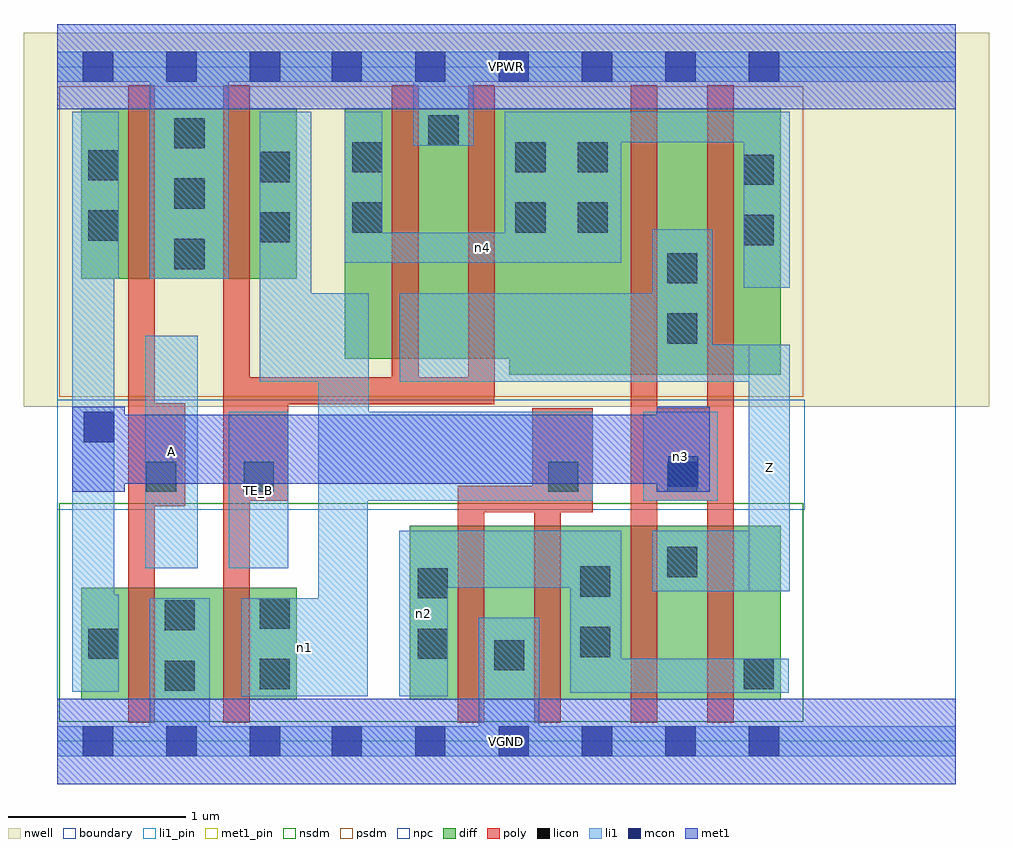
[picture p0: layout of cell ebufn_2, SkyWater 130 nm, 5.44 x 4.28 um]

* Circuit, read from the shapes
.subckt ebufn_2 A TE_B VGND VPWR Z n1 n2 n3 n4
XM1 VGND A n3 VSUBS sky130_fd_pr__nfet_01v8 w=0.63 l=0.15
XM2 n1 TE_B VGND VSUBS sky130_fd_pr__nfet_01v8 w=0.63 l=0.15
XM3 VGND n1 n2 VSUBS sky130_fd_pr__nfet_01v8 w=0.98 l=0.15 m=2
XM4 Z n3 n2 VSUBS sky130_fd_pr__nfet_01v8 w=0.98 l=0.15 m=2
XM5 VPWR A n3 n5 sky130_fd_pr__pfet_01v8 w=0.96 l=0.15
XM6 n1 TE_B VPWR n5 sky130_fd_pr__pfet_01v8 w=0.96 l=0.15
XM7 VPWR TE_B n4 n5 sky130_fd_pr__pfet_01v8 w=1.41 l=0.15 m=2
XM8 Z n3 n4 n5 sky130_fd_pr__pfet_01v8 w=1.5 l=0.15 m=2
.ends

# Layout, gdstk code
import gdstk
lib = gdstk.Library(unit=1e-6, precision=1e-09)
def R(c, l, rs):  # rectangles x0, y0, x1, y1
    for r in rs: c.add(gdstk.rectangle(r[:2], r[2:], *l))
def A(c, l, x, y, w, h, nx, ny, dx, dy):  # array of equal rectangles
    R(c, l, [(x+i*dx, y+j*dy, x+i*dx+w, y+j*dy+h) for i in range(nx) for j in range(ny)])
nwell = (64, 20)
diff = (65, 20)
poly = (66, 20)
licon = (66, 44)
li1_pin = (67, 16)
li1 = (67, 20)
mcon = (67, 44)
met1_pin = (68, 16)
met1 = (68, 20)
nsdm = (93, 44)
psdm = (94, 20)
npc = (95, 20)
boundary = (235, 4)

ebufn_2 = lib.new_cell('ebufn_2')
R(ebufn_2, nwell, [(-0.19,1.885,5.25,3.99), (0,1.885,5.06,3.99)])
R(ebufn_2, diff, [(0.135,0.235,1.35,0.865), (1.985,0.235,4.075,1.215), (2.545,2.065,4.075,3.565), (1.62,2.155,4.075,3.565), (0.135,2.605,1.35,3.565)])
R(ebufn_2, poly, [(0.4,0.105,0.55,3.695), (0.935,0.105,1.085,3.695), (2.255,0.105,2.405,1.44), (2.685,0.105,2.835,1.875), (3.23,0.105,3.38,3.695), (3.66,0.105,3.81,3.695), (2.255,1.29,3.015,1.44), (2.675,1.29,3.015,1.875), (0.4,1.325,0.72,1.905), (0.935,1.355,1.3,2.05), (3.23,1.355,3.81,1.875), (0.935,1.9,2.46,2.05), (1.885,1.9,2.035,3.695), (2.315,1.94,2.465,3.695)])
A(ebufn_2, licon, 0.66, 2.66, 0.17, 0.17, 1, 3, 0, 0.34)
R(ebufn_2, licon, [(0.605,0.285,0.775,0.455), (1.14,0.295,1.31,0.465), (3.865,0.295,4.035,0.465), (2.46,0.4,2.63,0.57), (0.175,0.465,0.345,0.635), (2.03,0.465,2.2,0.635), (2.945,0.475,3.115,0.645), (0.605,0.625,0.775,0.795), (1.14,0.635,1.31,0.805), (2.03,0.805,2.2,0.975), (2.945,0.815,3.115,0.985), (3.435,0.925,3.605,1.095), (0.5,1.405,0.67,1.575), (1.05,1.405,1.22,1.575), (2.765,1.405,2.935,1.575), (3.435,1.405,3.605,1.575), (3.435,2.24,3.605,2.41), (3.435,2.58,3.605,2.75), (3.865,2.795,4.035,2.965), (1.14,2.81,1.31,2.98), (0.175,2.82,0.345,2.99), (1.66,2.865,1.83,3.035), (2.58,2.865,2.75,3.035), (2.93,2.865,3.1,3.035), (3.865,3.135,4.035,3.305), (1.14,3.15,1.31,3.32), (0.175,3.16,0.345,3.33), (1.66,3.205,1.83,3.375), (2.58,3.205,2.75,3.375), (2.93,3.205,3.1,3.375), (2.09,3.355,2.26,3.525)])
R(ebufn_2, li1_pin, [(3.895,0.845,4.125,2.235), (0.495,0.975,0.79,2.285), (0.965,0.975,1.3,1.855)])
R(ebufn_2, li1, [(0,-0.085,5.06,0.085), (0.52,-0.085,0.86,0.805), (2.375,-0.085,2.715,0.695), (1.035,0.255,1.75,0.805), (1.47,0.255,1.75,2.525), (1.925,0.255,2.2,1.185), (2.89,0.275,4.12,0.465), (2.89,0.275,3.175,1.185), (0.085,0.28,0.32,3.545), (0.085,0.28,0.345,0.825), (3.35,0.845,4.125,1.185), (3.895,0.845,4.125,2.235), (1.925,0.865,3.175,1.185), (0.495,0.975,0.79,2.285), (0.965,0.975,1.3,1.855), (1.47,1.355,3.015,1.855), (1.47,1.355,1.755,2.525), (3.3,1.355,3.72,1.855), (1.14,2.025,1.43,3.545), (1.14,2.025,1.755,2.525), (1.93,2.025,3.69,2.525), (1.93,2.025,4.125,2.235), (3.35,2.025,3.69,2.885), (3.865,2.555,4.125,3.545), (0.085,2.605,0.345,3.545), (0.52,2.605,0.965,3.885), (1.62,2.695,3.175,2.865), (1.62,2.695,1.83,3.545), (2.52,2.695,3.175,3.545), (2.005,3.355,2.345,3.885), (2.52,3.375,4.125,3.545), (0,3.715,5.06,3.885)])
A(ebufn_2, mcon, 0.145, -0.085, 0.17, 0.17, 3, 2, 0.47, 3.8)
A(ebufn_2, mcon, 1.545, -0.085, 0.17, 0.17, 6, 2, 0.47, 3.8)
R(ebufn_2, mcon, [(3.44,1.435,3.61,1.605), (0.15,1.685,0.32,1.855)])
R(ebufn_2, met1_pin, [(0,-0.24,5.06,0.24), (0,3.56,5.06,4.04)])
R(ebufn_2, met1, [(0,-0.24,5.06,0.24), (0.085,1.405,0.38,1.885), (3.375,1.405,3.675,1.885), (0.085,1.45,3.675,1.84), (0,3.56,5.06,4.04)])
R(ebufn_2, nsdm, [(0.01,0.11,4.2,1.34)])
R(ebufn_2, psdm, [(0.01,1.94,4.2,3.69)])
R(ebufn_2, npc, [(0,1.305,4.21,1.925)])
R(ebufn_2, boundary, [(0,0,5.06,3.8)])
ebufn_2.add(gdstk.Label('A', (0.642,1.63), layer=67, texttype=5))
ebufn_2.add(gdstk.Label('TE_B', (1.132,1.415), layer=67, texttype=5))
ebufn_2.add(gdstk.Label('Z', (4.01,1.54), layer=67, texttype=5))
ebufn_2.add(gdstk.Label('n2', (2.062,0.72), layer=67, texttype=5))
ebufn_2.add(gdstk.Label('n3', (3.51,1.605), layer=67, texttype=5))
ebufn_2.add(gdstk.Label('n1', (1.392,0.53), layer=67, texttype=5))
ebufn_2.add(gdstk.Label('n4', (2.397,2.78), layer=67, texttype=5))
ebufn_2.add(gdstk.Label('VPWR', (2.53,3.8), layer=68, texttype=5))
ebufn_2.add(gdstk.Label('VGND', (2.53,0), layer=68, texttype=5))
ebufn_2.add(gdstk.Label('A', (0.642,1.63), layer=67, texttype=16))
ebufn_2.add(gdstk.Label('TE_B', (1.132,1.415), layer=67, texttype=16))
ebufn_2.add(gdstk.Label('Z', (4.01,1.54), layer=67, texttype=16))
ebufn_2.add(gdstk.Label('VPWR', (2.53,3.8), layer=68, texttype=16))
ebufn_2.add(gdstk.Label('VGND', (2.53,0), layer=68, texttype=16))

lib.write_gds('ebufn_2.gds')
